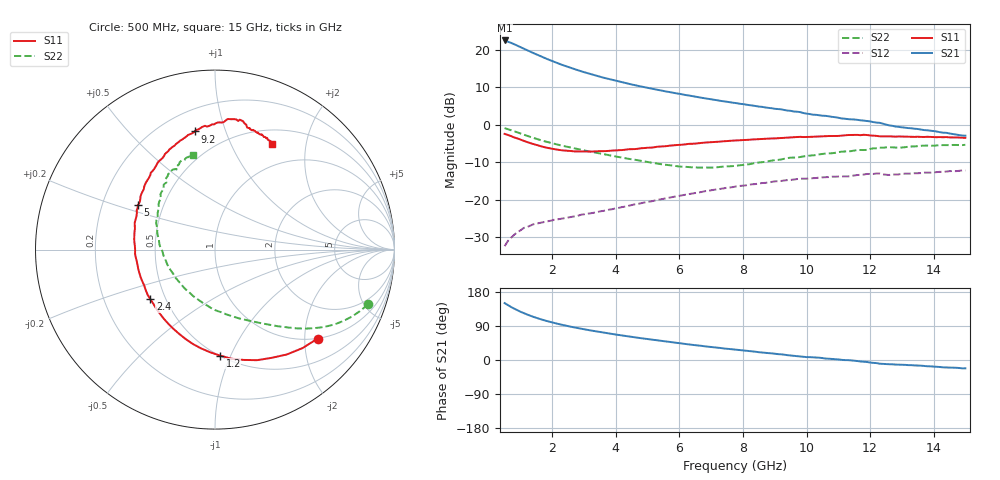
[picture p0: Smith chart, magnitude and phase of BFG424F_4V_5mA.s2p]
! Filename BFG424F_4V_5mA.prm
! Simulation_Values
! Created	by	janssen	on	nov	2006
!	Column ranking S11, S21,S12,S22 both magnitude and phase.
!	VCE	=	4	V,	IC	=	5	mA
!	Common	Emitter	S-Parameters
#	GHZ	S	MA	R	50
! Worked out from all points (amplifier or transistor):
!   146 points, 500 MHz to 15 GHz, reference 50 ohm
!   highest |S21| = 22.5 dB at 500 MHz (marker M1)
!   |S21| within 3 dB of that: start of sweep to 1.311 GHz
!   unconditionally stable (mu >= 1): 3.21 GHz to end of sweep
!   at 2.9 GHz: K = 0.92, MSG = 19.2 dB, |S12| = -24.0 dB
!   at 7.8 GHz: K = 1.24, MAG = 8.2 dB, |S12| = -16.4 dB
!   at 15 GHz: K = 1.55, MAG = 0.3 dB, |S12| = -12.2 dB
!   S11 on the Smith chart (normalised r, x): 500 MHz: 1.00, -2.31; 1.2 GHz: 0.50, -0.91; 2.4 GHz: 0.41, -0.29; 5 GHz: 0.36, +0.23; 9.2 GHz: 0.33, +0.79; 15 GHz: 0.68, +1.46
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0.5  0.757 -40.9  13.39 150.1  0.024 68.2  0.905 -19.8
0.6  0.734 -48.4  12.92 145.0  0.028 64.7  0.877 -23.0
0.7  0.708 -55.6  12.45 140.1  0.031 62.4  0.85 -26.0
0.8  0.68 -62.5  11.94 135.5  0.034 59.9  0.822 -28.7
1  0.635 -75.5  10.91 127.4  0.039 55.9  0.767 -33.5
1.2  0.591 -87.3  9.957 120.3  0.043 53.0  0.716 -37.5
1.4  0.555 -98.3  9.108 114.0  0.047 50.9  0.671 -41.0
1.7  0.51 -113.1  8.023 106.0  0.05 49.0  0.613 -45.4
1.9  0.488 -122.3  7.382 101.2  0.052 48.5  0.581 -47.9
2.1  0.471 -130.7  6.843 96.9  0.055 48.2  0.554 -50.5
2.4  0.454 -142.5  6.133 91.2  0.057 48.5  0.517 -54.1
3  0.441 -162.8  5.055 81.2  0.064 50.2  0.456 -61.6
3.7  0.447 177.2  4.175 71.0  0.072 52.4  0.4 -71.9
4.4  0.472 161.3  3.534 62.2  0.083 54.5  0.352 -83.8
5  0.495 150.1  3.118 55.3  0.094 55.0  0.319 -96.3
5.4  0.514 143.1  2.895 50.7  0.101 54.9  0.299 -105.7
6.5  0.562 127.2  2.381 39.1  0.123 53.6  0.27 -135.3
7.8  0.619 112.5  1.947 27.1  0.151 49.8  0.285 -170.8
9.2  0.668 99.7  1.613 14.9  0.178 43.9  0.345 159.2
10.2  0.694 91.9  1.368 7.0  0.194 38.6  0.391 143.2
12.6  0.703 74.2  0.984 -11.2  0.214 27.4  0.504 117.8
15  0.672 61.5  0.717 -22.0  0.245 19.1  0.541 103.3
